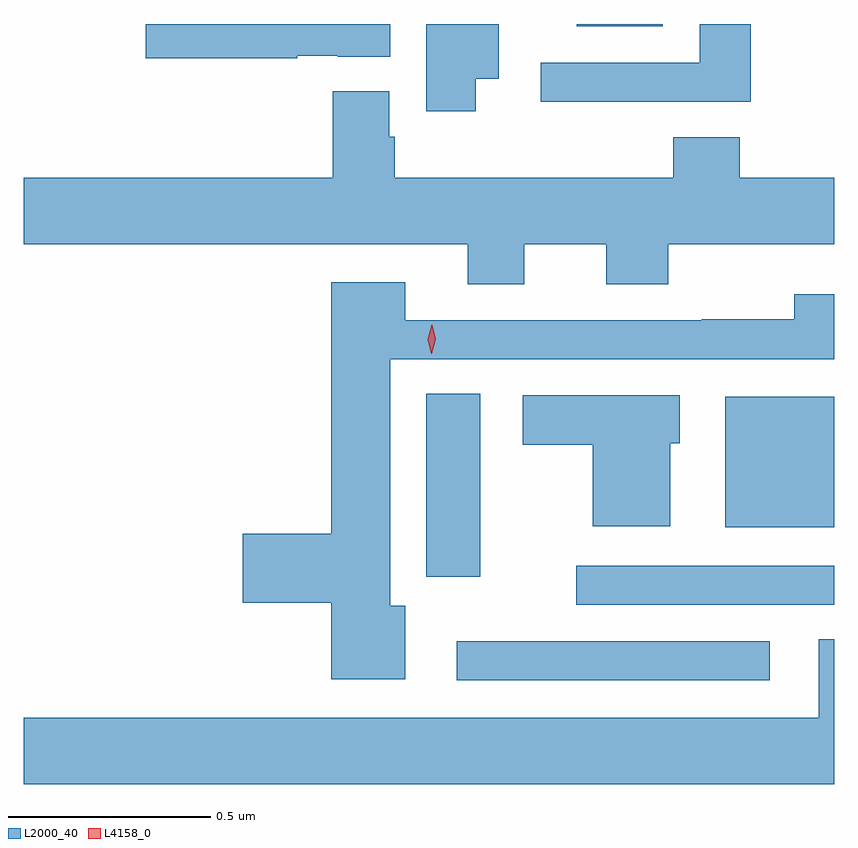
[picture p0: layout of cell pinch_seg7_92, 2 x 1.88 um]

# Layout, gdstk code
import gdstk
lib = gdstk.Library(unit=1e-6, precision=1e-09)
def R(c, l, rs):  # rectangles x0, y0, x1, y1
    for r in rs: c.add(gdstk.rectangle(r[:2], r[2:], *l))
def P(c, l, *ps):  # polygons
    for p in ps: c.add(gdstk.Polygon(p, *l))
L2000_40 = (2000, 40)
L4158_0 = (4158, 0)

pinch_seg7_92 = lib.new_cell('pinch_seg7_92')
R(pinch_seg7_92, L2000_40, [(965.97,1008.864,966.742,1008.96), (966.264,1009.05,966.901,1009.146), (965.894,1009.119,966.028,1009.571), (966.632,1009.241,966.901,1009.564), (966.266,1010.477,966.478,1010.483)])
P(pinch_seg7_92, L2000_40, [(965.576,1010.405),(965.676,1010.405),(965.676,1010.402),(965.806,1010.402),(965.806,1010.483),(965.202,1010.483),(965.202,1010.398),(965.576,1010.398)],
  [(966.695,1010.483),(966.569,1010.483),(966.569,1010.388),(966.177,1010.388),(966.177,1010.291),(966.695,1010.291)],
  [(966.016,1010.348),(966.073,1010.348),(966.073,1010.483),(965.894,1010.483),(965.894,1010.268),(966.016,1010.268)],
  [(966.136,1009.94),(966.338,1009.94),(966.338,1009.841),(966.491,1009.841),(966.491,1009.94),(966.901,1009.94),(966.901,1010.104),(966.668,1010.104),(966.668,1010.203),(966.503,1010.203),(966.503,1010.104),(965.816,1010.104),(965.816,1010.205),(965.803,1010.205),(965.803,1010.317),(965.663,1010.317),(965.663,1010.104),(964.901,1010.104),(964.901,1009.94),(965.996,1009.94),(965.996,1009.841),(966.136,1009.841)],
  [(965.842,1009.048),(965.806,1009.048),(965.806,1009.656),(966.901,1009.656),(966.901,1009.816),(966.802,1009.816),(966.802,1009.754),(966.574,1009.754),(966.574,1009.752),(965.842,1009.752),(965.842,1009.846),(965.66,1009.846),(965.66,1009.226),(965.442,1009.226),(965.442,1009.055),(965.66,1009.055),(965.66,1008.866),(965.842,1008.866)],
  [(966.496,1009.449),(966.52,1009.449),(966.52,1009.567),(966.132,1009.567),(966.132,1009.445),(966.305,1009.445),(966.305,1009.244),(966.496,1009.244)],
  [(966.901,1008.965),(966.863,1008.965),(966.863,1008.772),(964.901,1008.772),(964.901,1008.608),(966.901,1008.608)])
P(pinch_seg7_92, L4158_0, [(965.907,1009.669),(965.898,1009.705),(965.908,1009.741),(965.909,1009.741),(965.909,1009.741),(965.918,1009.705),(965.908,1009.669),(965.908,1009.669)])

lib.write_gds('pinch_seg7_92.gds')
